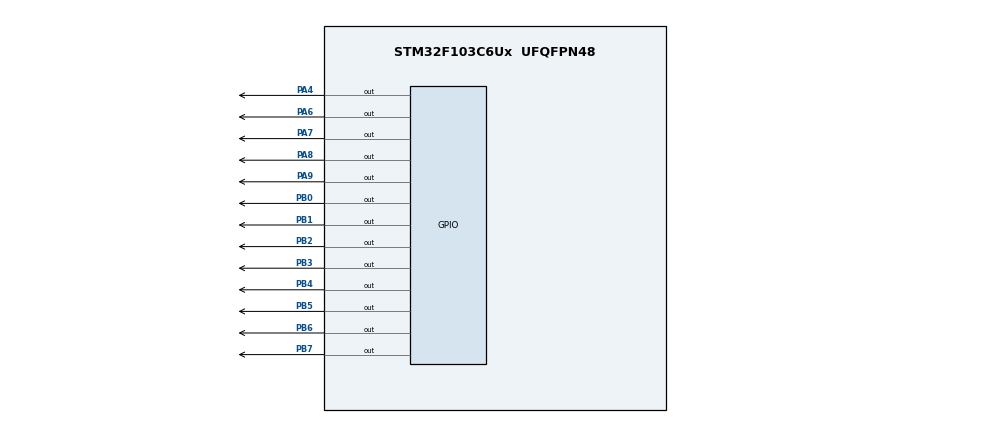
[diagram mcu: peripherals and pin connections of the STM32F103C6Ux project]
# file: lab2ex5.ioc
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Mcu.Family=STM32F1
Mcu.Name=STM32F103C6Ux
Mcu.Package=UFQFPN48
NVIC.PriorityGroup=NVIC_PRIORITYGROUP_4
NVIC.TIM2_IRQn=true\:0\:0\:false\:false\:true\:true\:true
PA4.Signal=GPIO_Output
PA6.Signal=GPIO_Output
PA7.Signal=GPIO_Output
PA8.Signal=GPIO_Output
PA9.Signal=GPIO_Output
PB0.Signal=GPIO_Output
PB1.Signal=GPIO_Output
PB2.Signal=GPIO_Output
PB3.Signal=GPIO_Output
PB4.Signal=GPIO_Output
PB5.Signal=GPIO_Output
PB6.Signal=GPIO_Output
PB7.Signal=GPIO_Output
ProjectManager.HeapSize=0x200
ProjectManager.StackSize=0x400
ProjectManager.TargetToolchain=STM32CubeIDE
RCC.APB1Freq_Value=8000000
RCC.APB2Freq_Value=8000000
TIM2.Period=9
TIM2.Prescaler=7999
VP_SYS_VS_ND.Mode=No_Debug
VP_TIM2_VS_ClockSourceINT.Mode=Internal
board=custom

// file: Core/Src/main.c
/* USER CODE BEGIN Header */
/**
 ******************************************************************************
 * @file           : main.c
 * @brief          : Main program body
 ******************************************************************************
 * @attention
 *
 * <h2><center>&copy; Copyright (c) 2026 STMicroelectronics.
 * All rights reserved.</center></h2>
 *
 * This software component is licensed by ST under BSD 3-Clause license,
 * the "License"; You may not use this file except in compliance with the
 * License. You may obtain a copy of the License at:
 *                        opensource.org/licenses/BSD-3-Clause
 *
 ******************************************************************************
 */
/* USER CODE END Header */
#include "main.h"

TIM_HandleTypeDef htim2;

void SystemClock_Config(void);
static void MX_GPIO_Init(void);
static void MX_TIM2_Init(void);

/* USER CODE BEGIN 0 */
#define DOT_Pin GPIO_PIN_4
#define EN0_Pin GPIO_PIN_6
#define EN1_Pin GPIO_PIN_7
#define EN2_Pin GPIO_PIN_8
#define EN3_Pin GPIO_PIN_9

int hour = 15, minute = 8, second = 50;
const int MAX_LED = 4;
int led_buffer[4] = {1, 2, 3, 0};
int led_index = 0;

void updateClockBuffer() {
  led_buffer[0] = hour / 10;
  led_buffer[1] = hour % 10;
  led_buffer[2] = minute / 10;
  led_buffer[3] = minute % 10;
}

void display7SEG(int num) {
  GPIO_PinState a = GPIO_PIN_SET;
  GPIO_PinState b = GPIO_PIN_SET;
  GPIO_PinState c = GPIO_PIN_SET;
  GPIO_PinState d = GPIO_PIN_SET;
  GPIO_PinState e = GPIO_PIN_SET;
  GPIO_PinState f = GPIO_PIN_SET;
  GPIO_PinState g = GPIO_PIN_SET;

  switch (num) {
  case 0:
    a = 0;
    b = 0;
    c = 0;
    d = 0;
    e = 0;
    f = 0;
    break;
  case 1:
    b = 0;
    c = 0;
    break;
  case 2:
    a = 0;
    b = 0;
    d = 0;
    e = 0;
    g = 0;
    break;
  case 3:
    a = 0;
    b = 0;
    c = 0;
    d = 0;
    g = 0;
    break;
  case 4:
    b = 0;
    c = 0;
    f = 0;
    g = 0;
    break;
  case 5:
    a = 0;
    c = 0;
    d = 0;
    f = 0;
    g = 0;
    break;
  case 6:
    a = 0;
    c = 0;
    d = 0;
    e = 0;
    f = 0;
    g = 0;
    break;
  case 7:
    a = 0;
    b = 0;
    c = 0;
    break;
  case 8:
    a = 0;
    b = 0;
    c = 0;
    d = 0;
    e = 0;
    f = 0;
    g = 0;
    break;
  case 9:
    a = 0;
    b = 0;
    c = 0;
    d = 0;
    f = 0;
    g = 0;
    break;
  }

  HAL_GPIO_WritePin(GPIOB, GPIO_PIN_0, a);
  HAL_GPIO_WritePin(GPIOB, GPIO_PIN_1, b);
  HAL_GPIO_WritePin(GPIOB, GPIO_PIN_2, c);
  HAL_GPIO_WritePin(GPIOB, GPIO_PIN_3, d);
  HAL_GPIO_WritePin(GPIOB, GPIO_PIN_4, e);
  HAL_GPIO_WritePin(GPIOB, GPIO_PIN_5, f);
  HAL_GPIO_WritePin(GPIOB, GPIO_PIN_6, g);
}
/* USER CODE END 0 */

int main(void) {

  /* MCU Configuration--------------------------------------------------------*/

  /* Reset of all peripherals, Initializes the Flash interface and the Systick.
   */
  HAL_Init();

  /* Configure the system clock */
  SystemClock_Config();

  /* Initialize all configured peripherals */
  MX_GPIO_Init();
  MX_TIM2_Init();
  /* USER CODE BEGIN 2 */
  HAL_TIM_Base_Start_IT(&htim2);
  /* USER CODE END 2 */

  /* Infinite loop */
  while (1) {

    /* USER CODE BEGIN 3 */
    second++;
    if (second >= 60) {
      second = 0;
      minute++;
    }
    if (minute >= 60) {
      minute = 0;
      hour++;
    }
    if (hour >= 24) {
      hour = 0;
    }

    updateClockBuffer();

    HAL_Delay(1000);
  }
  /* USER CODE END 3 */
}

void SystemClock_Config(void) {
  RCC_OscInitTypeDef RCC_OscInitStruct = {0};
  RCC_ClkInitTypeDef RCC_ClkInitStruct = {0};

  /** Initializes the RCC Oscillators according to the specified parameters
   * in the RCC_OscInitTypeDef structure.
   */
  RCC_OscInitStruct.OscillatorType = RCC_OSCILLATORTYPE_HSI;
  RCC_OscInitStruct.HSIState = RCC_HSI_ON;
  RCC_OscInitStruct.HSICalibrationValue = RCC_HSICALIBRATION_DEFAULT;
  RCC_OscInitStruct.PLL.PLLState = RCC_PLL_NONE;
  if (HAL_RCC_OscConfig(&RCC_OscInitStruct) != HAL_OK) {
    Error_Handler();
  }
  /** Initializes the CPU, AHB and APB buses clocks
   */
  RCC_ClkInitStruct.ClockType = RCC_CLOCKTYPE_HCLK | RCC_CLOCKTYPE_SYSCLK |
                                RCC_CLOCKTYPE_PCLK1 | RCC_CLOCKTYPE_PCLK2;
  RCC_ClkInitStruct.SYSCLKSource = RCC_SYSCLKSOURCE_HSI;
  RCC_ClkInitStruct.AHBCLKDivider = RCC_SYSCLK_DIV1;
  RCC_ClkInitStruct.APB1CLKDivider = RCC_HCLK_DIV1;
  RCC_ClkInitStruct.APB2CLKDivider = RCC_HCLK_DIV1;

  if (HAL_RCC_ClockConfig(&RCC_ClkInitStruct, FLASH_LATENCY_0) != HAL_OK) {
    Error_Handler();
  }
}

static void MX_TIM2_Init(void) {

  TIM_ClockConfigTypeDef sClockSourceConfig = {0};
  TIM_MasterConfigTypeDef sMasterConfig = {0};

  htim2.Instance = TIM2;
  htim2.Init.Prescaler = 7999;
  htim2.Init.CounterMode = TIM_COUNTERMODE_UP;
  htim2.Init.Period = 9;
  htim2.Init.ClockDivision = TIM_CLOCKDIVISION_DIV1;
  htim2.Init.AutoReloadPreload = TIM_AUTORELOAD_PRELOAD_DISABLE;
  if (HAL_TIM_Base_Init(&htim2) != HAL_OK) {
    Error_Handler();
  }
  sClockSourceConfig.ClockSource = TIM_CLOCKSOURCE_INTERNAL;
  if (HAL_TIM_ConfigClockSource(&htim2, &sClockSourceConfig) != HAL_OK) {
    Error_Handler();
  }
  sMasterConfig.MasterOutputTrigger = TIM_TRGO_RESET;
  sMasterConfig.MasterSlaveMode = TIM_MASTERSLAVEMODE_DISABLE;
  if (HAL_TIMEx_MasterConfigSynchronization(&htim2, &sMasterConfig) != HAL_OK) {
    Error_Handler();
  }
}

static void MX_GPIO_Init(void) {
  GPIO_InitTypeDef GPIO_InitStruct = {0};

  /* GPIO Ports Clock Enable */
  __HAL_RCC_GPIOA_CLK_ENABLE();
  __HAL_RCC_GPIOB_CLK_ENABLE();

  /*Configure GPIO pin Output Level */
  HAL_GPIO_WritePin(
      GPIOA, GPIO_PIN_4 | GPIO_PIN_6 | GPIO_PIN_7 | GPIO_PIN_8 | GPIO_PIN_9,
      GPIO_PIN_RESET);

  /*Configure GPIO pin Output Level */
  HAL_GPIO_WritePin(GPIOB,
                    GPIO_PIN_0 | GPIO_PIN_1 | GPIO_PIN_2 | GPIO_PIN_3 |
                        GPIO_PIN_4 | GPIO_PIN_5 | GPIO_PIN_6 | GPIO_PIN_7,
                    GPIO_PIN_RESET);

  /*Configure GPIO pins : PA4 PA6 PA7 PA8
                           PA9 */
  GPIO_InitStruct.Pin =
      GPIO_PIN_4 | GPIO_PIN_6 | GPIO_PIN_7 | GPIO_PIN_8 | GPIO_PIN_9;
  GPIO_InitStruct.Mode = GPIO_MODE_OUTPUT_PP;
  GPIO_InitStruct.Pull = GPIO_NOPULL;
  GPIO_InitStruct.Speed = GPIO_SPEED_FREQ_LOW;
  HAL_GPIO_Init(GPIOA, &GPIO_InitStruct);

  /*Configure GPIO pins : PB0 PB1 PB2 PB3
                           PB4 PB5 PB6 PB7 */
  GPIO_InitStruct.Pin = GPIO_PIN_0 | GPIO_PIN_1 | GPIO_PIN_2 | GPIO_PIN_3 |
                        GPIO_PIN_4 | GPIO_PIN_5 | GPIO_PIN_6 | GPIO_PIN_7;
  GPIO_InitStruct.Mode = GPIO_MODE_OUTPUT_PP;
  GPIO_InitStruct.Pull = GPIO_NOPULL;
  GPIO_InitStruct.Speed = GPIO_SPEED_FREQ_LOW;
  HAL_GPIO_Init(GPIOB, &GPIO_InitStruct);
}

/* USER CODE BEGIN 4 */
void update7SEG(int index) {
  HAL_GPIO_WritePin(GPIOA, EN0_Pin | EN1_Pin | EN2_Pin | EN3_Pin, GPIO_PIN_SET);
  display7SEG(led_buffer[index]);
  switch (index) {
  case 0:
    HAL_GPIO_WritePin(GPIOA, EN0_Pin, GPIO_PIN_RESET);
    break;
  case 1:
    HAL_GPIO_WritePin(GPIOA, EN1_Pin, GPIO_PIN_RESET);
    break;
  case 2:
    HAL_GPIO_WritePin(GPIOA, EN2_Pin, GPIO_PIN_RESET);
    break;
  case 3:
    HAL_GPIO_WritePin(GPIOA, EN3_Pin, GPIO_PIN_RESET);
    break;
  }
}

void HAL_TIM_PeriodElapsedCallback(TIM_HandleTypeDef *htim) {
  if (htim->Instance == TIM2) {
    static int counter = 25;
    counter--;
    if (counter <= 0) {
      counter = 25;
      update7SEG(led_index);

      if (led_index == 0 || led_index == 2) {
          HAL_GPIO_TogglePin(GPIOA, DOT_Pin);
      }

      led_index++;
      if (led_index >= MAX_LED)
        led_index = 0;
    }
  }
}
/* USER CODE END 4 */

void Error_Handler(void) {
  __disable_irq();
  while (1) {
  }
}

#ifdef USE_FULL_ASSERT
/**
 * @brief  Reports the name of the source file and the source line number
 *         where the assert_param error has occurred.
 * @param  file: pointer to the source file name
 * @param  line: assert_param error line source number
 * @retval None
 */
void assert_failed(uint8_t *file, uint32_t line) {
  /* USER CODE BEGIN 6 */
  /* User can add his own implementation to report the file name and line
     number, ex: printf("Wrong parameters value: file %s on line %d\r\n", file,
     line) */
  /* USER CODE END 6 */
}
#endif /* USE_FULL_ASSERT */

/************************ (C) COPYRIGHT STMicroelectronics *****END OF FILE****/
